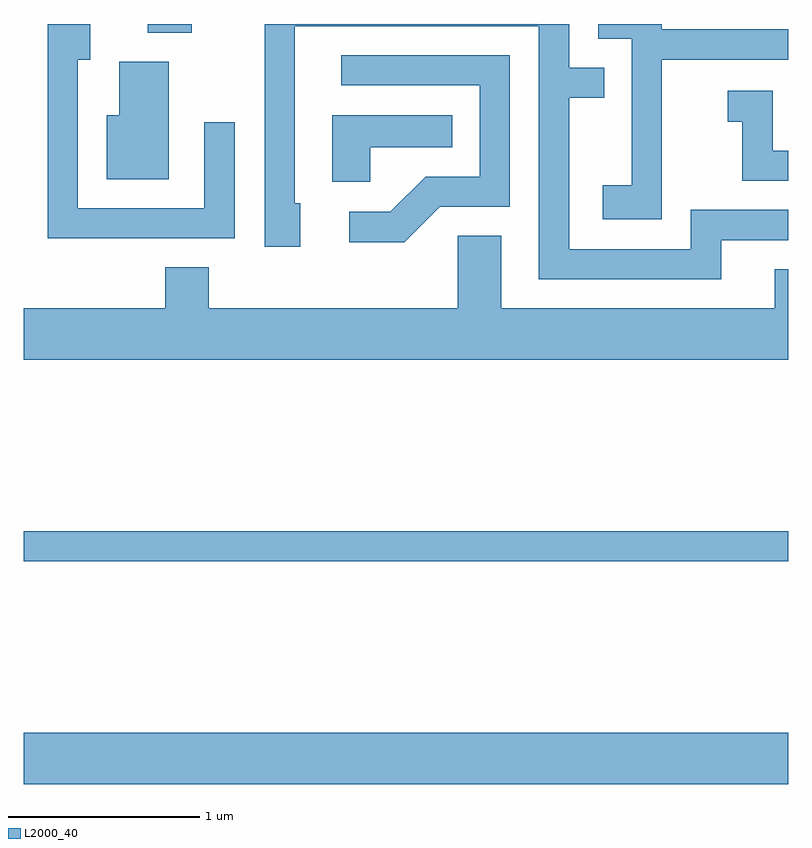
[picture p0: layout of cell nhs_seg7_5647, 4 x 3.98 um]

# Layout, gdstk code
import gdstk
lib = gdstk.Library(unit=1e-6, precision=1e-09)
def R(c, l, rs):  # rectangles x0, y0, x1, y1
    for r in rs: c.add(gdstk.rectangle(r[:2], r[2:], *l))
def P(c, l, *ps):  # polygons
    for p in ps: c.add(gdstk.Polygon(p, *l))
L2000_40 = (2000, 40)

nhs_seg7_5647 = lib.new_cell('nhs_seg7_5647')
R(nhs_seg7_5647, L2000_40, [(357.611,1754.276,361.611,1754.544), (357.611,1755.441,361.611,1755.599), (358.261,1758.206,358.489,1758.252)])
P(nhs_seg7_5647, L2000_40, [(358.714,1757.738),(358.556,1757.738),(358.556,1757.289),(357.894,1757.289),(357.894,1758.066),(357.959,1758.066),(357.959,1758.252),(357.736,1758.252),(357.736,1757.131),(358.714,1757.131)],
  [(361.259,1757.121),(361.611,1757.121),(361.611,1757.279),(361.101,1757.279),(361.101,1757.074),(360.464,1757.074),(360.464,1757.866),(360.648,1757.866),(360.648,1758.024),(360.464,1758.024),(360.464,1758.252),(358.871,1758.252),(358.871,1757.086),(359.059,1757.086),(359.059,1757.314),(359.029,1757.314),(359.029,1758.241),(360.306,1758.241),(360.306,1756.916),(361.259,1756.916)],
  [(360.949,1758.066),(361.611,1758.066),(361.611,1758.224),(360.949,1758.224),(360.949,1758.252),(360.616,1758.252),(360.616,1758.176),(360.791,1758.176),(360.791,1757.409),(360.641,1757.409),(360.641,1757.231),(360.949,1757.231)],
  [(359.787,1757.296),(360.154,1757.296),(360.154,1758.089),(359.273,1758.089),(359.273,1757.931),(359.996,1757.931),(359.996,1757.454),(359.714,1757.454),(359.529,1757.269),(359.313,1757.269),(359.313,1757.111),(359.602,1757.111)],
  [(358.369,1758.054),(358.111,1758.054),(358.111,1757.774),(358.046,1757.774),(358.046,1757.441),(358.369,1757.441)],
  [(361.611,1757.589),(361.529,1757.589),(361.529,1757.904),(361.293,1757.904),(361.293,1757.741),(361.371,1757.741),(361.371,1757.431),(361.611,1757.431)],
  [(359.424,1757.606),(359.853,1757.606),(359.853,1757.774),(359.226,1757.774),(359.226,1757.426),(359.424,1757.426)],
  [(361.611,1756.969),(361.541,1756.969),(361.541,1756.764),(360.109,1756.764),(360.109,1757.144),(359.881,1757.144),(359.881,1756.764),(358.579,1756.764),(358.579,1756.979),(358.351,1756.979),(358.351,1756.764),(357.611,1756.764),(357.611,1756.496),(361.611,1756.496)])

lib.write_gds('nhs_seg7_5647.gds')
